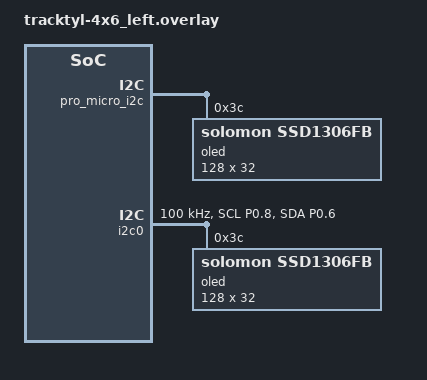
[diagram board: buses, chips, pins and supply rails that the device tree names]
#include "tracktyl-4x6.dtsi"
/ {
    chosen {
        zephyr,display = &oled;
    };
};

&kscan0 {
    col-gpios
        , <&pro_micro_d 4 GPIO_ACTIVE_HIGH>
        , <&pro_micro_d 5 GPIO_ACTIVE_HIGH>
        , <&pro_micro_d 6 GPIO_ACTIVE_HIGH>
        , <&pro_micro_d 7 GPIO_ACTIVE_HIGH>
        , <&pro_micro_d 8 GPIO_ACTIVE_HIGH>
        , <&pro_micro_d 9 GPIO_ACTIVE_HIGH>
        ;
};

&pro_micro_i2c {
    status = "okay";

    oled: ssd1306@3c {
        compatible = "solomon,ssd1306fb";
        reg = <0x3c>;
        width = <128>;
        height = <32>;
        segment-offset = <0>;
        page-offset = <0>;
        display-offset = <0>;
        multiplex-ratio = <31>;
        segment-remap;
        com-invdir;
        com-sequential;
        prechargep = <0x22>;
    };
};



&pinctrl {
    i2c0_default: i2c0_default {
        group1 {
            psels = <NRF_PSEL(TWIM_SCL, 0, 8)>,
                <NRF_PSEL(TWIM_SDA, 0, 6)>;
        };
    };

    i2c0_sleep: i2c0_sleep {
        group1 {
            psels = <NRF_PSEL(TWIM_SCL, 0, 8)>,
                <NRF_PSEL(TWIM_SDA, 0, 6)>;
            low-power-enable;
        };
    };
};


&i2c0 {
    status = "okay";
    compatible = "nordic,nrf-twim"; // Good practice to include compatible
    clock-frequency = <I2C_BITRATE_STANDARD>; // Or I2C_BITRATE_FAST (400kHz)
    pinctrl-0 = <&i2c0_default>;
    pinctrl-1 = <&i2c0_sleep>;
    pinctrl-names = "default", "sleep";

    // Increase internal buffer size. Needs >= 100 bytes based on error.
    // 128 is a reasonable value.
    zephyr,concat-buf-size = <300>;

    oled: ssd1306@3c {
        compatible = "solomon,ssd1306fb";
        reg = <0x3c>;
        width = <128>;
        height = <32>;
        segment-offset = <0>;
        page-offset = <0>;
        display-offset = <0>;
        multiplex-ratio = <31>;
        segment-remap;
        com-invdir;
        com-sequential;
        prechargep = <0x22>;
    };
};
